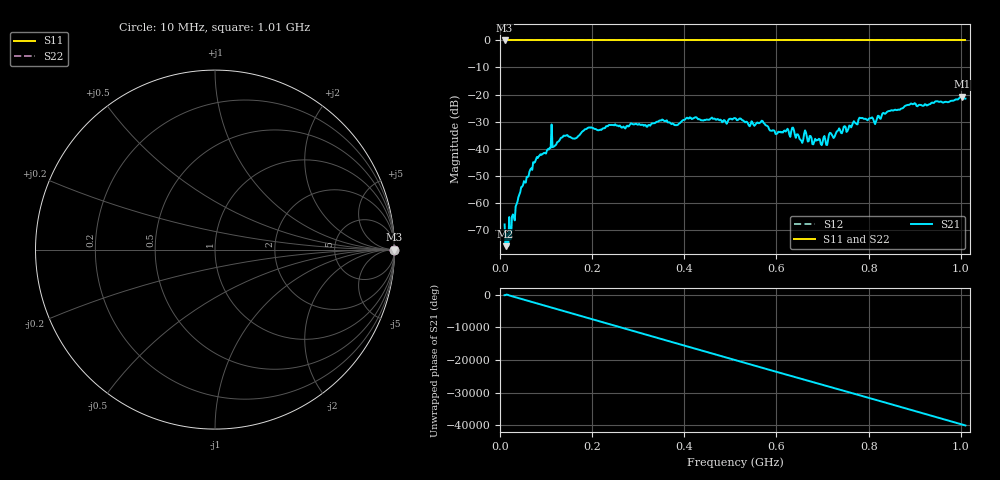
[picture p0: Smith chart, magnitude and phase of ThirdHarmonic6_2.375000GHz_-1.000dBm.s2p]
! 8/17/2025 3:44:46 AM
! C:\ANRITSUVNA\TEMP\TEMP.S2P
! CHANNEL.1
! TR.MEASUREMENT
! RAW.DATA
! RF.CORRECTION.OFF
! AVERAGING.OFF
! IF.BANDWIDTH: 5KHZ
! SWEEPTYPE:  FREQ.SWEEP(Linear)
! Reference Plane Port Info
! PORT:  PORT1  PORT2
! DISTANCE:  0  m  0  m
! TIME:  0  s  0  s
! PHASE.OFFSET:  0  deg.  0  deg.
! LOSS:  0  dB  0  dB
! REF.LOSS:  0  dB  0  dB
! REF.FREQ:  0  Hz  0  Hz
! Power Info
! POWER:  -20  dBm  -20  dBm
! EFF.POWER:  -20  dBm  -20  dBm
! SOURCE.ATTEN:  0  dB  0  dB
! TEST.ATTEN:  0  dB  0  dB
# GHZ S RI R 50.0
! FREQ.GHZ  S11RE  S11IM  S21RE  S21IM  S12RE  S12IM  S22RE  S22IM
!; PortSelection: Port_12
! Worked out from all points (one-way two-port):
!   501 points, 10 MHz to 1.01 GHz, reference 50 ohm
!   highest |S21| = -20.80 dB at 1.002 GHz (marker M1); lowest = -76.1 dB at 12 MHz (marker M2)
!   lowest |S11| = 0.0 dB at 10 MHz (marker M3)
!   |S11| at or under -10 dB: nowhere
!   |S22| runs from 0.0 to 0.0 dB; largest |S21 - S12| = 1.1
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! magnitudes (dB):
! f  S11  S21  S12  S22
! 10 MHz  0.0  -68.1  0.0  0.0
! 12 MHz  0.0  -76.1  0.0  0.0
! 20 MHz  0.0  -65.3  0.0  0.0
! 44 MHz  0.0  -56.1  0.0  0.0
! 76 MHz  0.0  -45.0  0.0  0.0
! 108 MHz  0.0  -39.7  0.0  0.0
! 178 MHz  0.0  -33.8  0.0  0.0
! 344 MHz  0.0  -29.9  0.0  0.0
! 382 MHz  0.0  -31.3  0.0  0.0
! 510 MHz  0.0  -28.7  0.0  0.0
! 570 MHz  0.0  -29.8  0.0  0.0
! 602 MHz  0.0  -34.3  0.0  0.0
! 636 MHz  0.0  -32.3  0.0  0.0
! 654 MHz  0.0  -37.1  0.0  0.0
! 662 MHz  0.0  -33.3  0.0  0.0
! 678 MHz  0.0  -38.4  0.0  0.0
! 710 MHz  0.0  -38.7  0.0  0.0
! 782 MHz  0.0  -28.7  0.0  0.0
! 814 MHz  0.0  -30.9  0.0  0.0
! 844 MHz  0.0  -26.1  0.0  0.0
! 1.002 GHz  0.0  -20.8  0.0  0.0
! 1.01 GHz  0.0  -21.5  0.0  0.0
